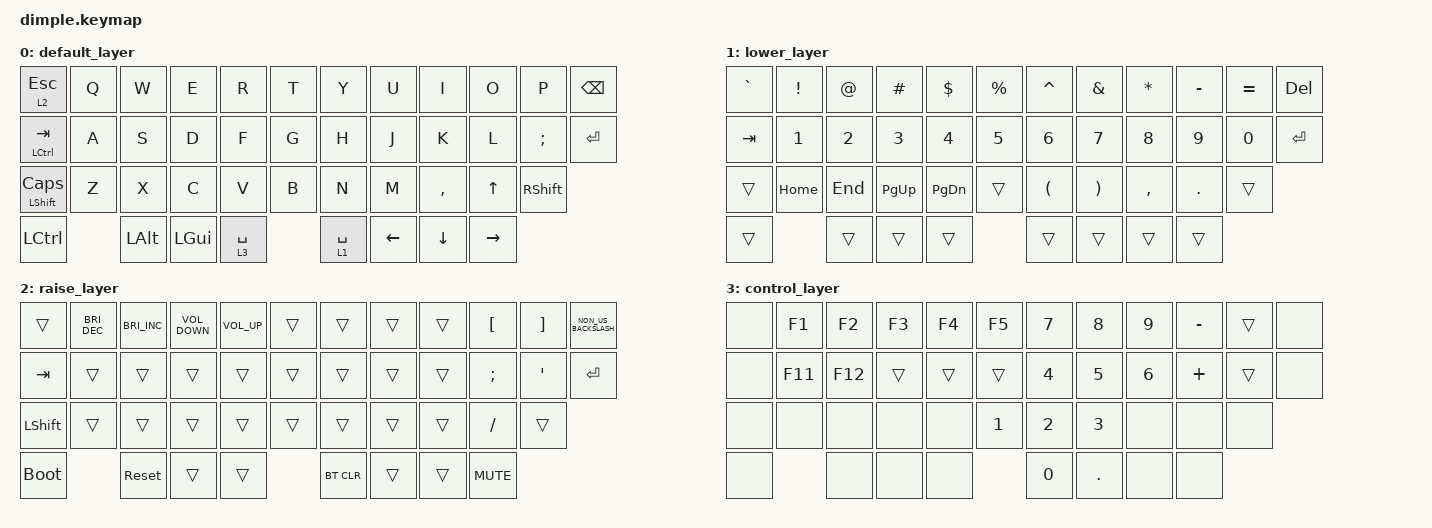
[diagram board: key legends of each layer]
/*
 * Copyright (c) 2022 LAZYDESIGNERS
 *
 * SPDX-License-Identifier: MIT
 */

#include <behaviors.dtsi>
#include <dt-bindings/zmk/bt.h>
#include <dt-bindings/zmk/keys.h>

#define DEFAULT 0
#define LOWER   1
#define RAISE   2
#define CONTROL 3

/ {
    keymap {
        compatible = "zmk,keymap";

        default_layer {
            bindings = <
&lt 2 ESC             &kp Q  &kp W         &kp E         &kp R        &kp T  &kp Y        &kp U     &kp I      &kp O      &kp P       &kp BSPC
&mt LEFT_CONTROL TAB  &kp A  &kp S         &kp D         &kp F        &kp G  &kp H        &kp J     &kp K      &kp L      &kp SEMI    &kp ENTER
&mt LSHIFT CAPSLOCK   &kp Z  &kp X         &kp C         &kp V        &kp B  &kp N        &kp M     &kp COMMA  &kp UP     &kp RSHIFT
&kp LCTRL                    &kp LEFT_ALT  &kp LEFT_GUI  &lt 3 SPACE         &lt 1 SPACE  &kp LEFT  &kp DOWN   &kp RIGHT
            >;
        };

        lower_layer {
            bindings = <
&kp GRAVE  &kp EXCLAMATION  &kp AT_SIGN   &kp HASH      &kp DOLLAR     &kp PERCENT   &kp CARET             &kp AMPERSAND          &kp ASTERISK  &kp MINUS     &kp EQUAL     &kp DELETE
&kp TAB    &kp NUMBER_1     &kp NUMBER_2  &kp NUMBER_3  &kp NUMBER_4   &kp NUMBER_5  &kp NUMBER_6          &kp NUMBER_7           &kp NUMBER_8  &kp NUMBER_9  &kp NUMBER_0  &kp ENTER
&trans     &kp HOME         &kp END       &kp PAGE_UP   &kp PAGE_DOWN  &trans        &kp LEFT_PARENTHESIS  &kp RIGHT_PARENTHESIS  &kp COMMA     &kp PERIOD    &trans
&trans                      &trans        &trans        &trans                       &trans                &trans                 &trans        &trans
            >;
        };

        raise_layer {
            bindings = <
&trans          &kp C_BRIGHTNESS_DEC  &kp C_BRIGHTNESS_INC  &kp C_VOLUME_DOWN  &kp C_VOL_UP  &trans  &trans      &trans  &trans  &kp LEFT_BRACKET  &kp RIGHT_BRACKET  &kp NON_US_BACKSLASH
&kp TAB         &trans                &trans                &trans             &trans        &trans  &trans      &trans  &trans  &kp SEMICOLON     &kp SQT            &kp ENTER
&kp LEFT_SHIFT  &trans                &trans                &trans             &trans        &trans  &trans      &trans  &trans  &kp SLASH         &trans
&bootloader                           &sys_reset            &trans             &trans                &bt BT_CLR  &trans  &trans  &kp C_MUTE
            >;
        };

        control_layer {
            bindings = <
&none  &kp F1   &kp F2   &kp F3  &kp F4  &kp F5  &kp N7  &kp N8   &kp N9  &kp MINUS  &trans  &none
&none  &kp F11  &kp F12  &trans  &trans  &trans  &kp N4  &kp N5   &kp N6  &kp PLUS   &trans  &none
&none  &none    &none    &none   &none   &kp N1  &kp N2  &kp N3   &none   &none      &none
&none           &none    &none   &none           &kp N0  &kp DOT  &none   &none
            >;
        };
    };
};
